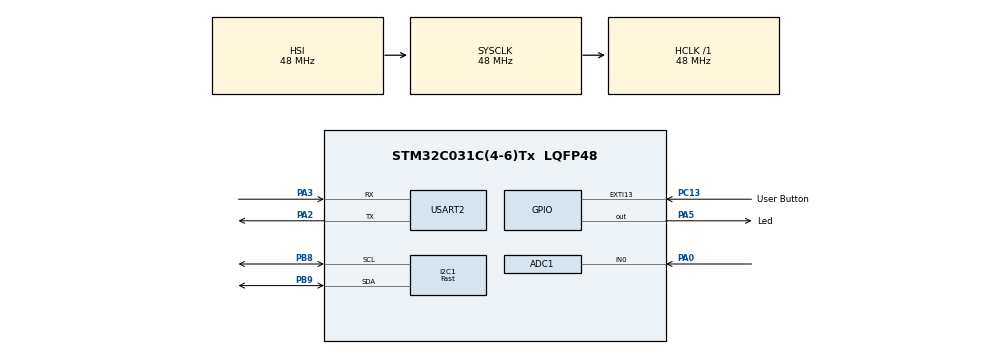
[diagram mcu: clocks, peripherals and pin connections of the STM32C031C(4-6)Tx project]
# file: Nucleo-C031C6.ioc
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ADC1.ContinuousConvMode=DISABLE
ADC1.NbrOfConversion=1
ADC1.NbrOfConversionFlag=0
ADC1.SamplingTimeCommon1=ADC_SAMPLETIME_160CYCLES_5
ADC1.SelectedChannel=ADC_CHANNEL_0
ADC1.master=1
I2C1.I2C_Speed_Mode=I2C_Fast
I2C1.Timing=0x0090194B
Mcu.Family=STM32C0
Mcu.Name=STM32C031C(4-6)Tx
Mcu.Package=LQFP48
NVIC.EXTI4_15_IRQn=true\:0\:0\:false\:false\:true\:true\:true\:true
PA0.Mode=IN0
PA0.Signal=ADC1_IN0
PA13.Mode=Serial_Wire
PA13.Signal=DEBUG_SWDIO
PA14-BOOT0.Mode=Serial_Wire
PA14-BOOT0.Signal=DEBUG_SWCLK
PA2.Mode=Asynchronous
PA2.Signal=USART2_TX
PA3.Mode=Asynchronous
PA3.Signal=USART2_RX
PA5.GPIO_Label=Led
PA5.GPIO_Speed=GPIO_SPEED_FREQ_VERY_HIGH
PA5.PinState=GPIO_PIN_SET
PA5.Signal=GPIO_Output
PB8.Mode=I2C
PB8.Signal=I2C1_SCL
PB9.Mode=I2C
PB9.Signal=I2C1_SDA
PC13.GPIO_Label=User Button
PC13.Signal=GPXTI13
PC14-OSCX_IN\ (PC14).Mode=LSE-External-Oscillator
PC14-OSCX_IN\ (PC14).Signal=RCC_OSCX_IN
PC15-OSCX_OUT\ (PC15).Mode=LSE-External-Oscillator
PC15-OSCX_OUT\ (PC15).Signal=RCC_OSCX_OUT
PF0-OSC_IN\ (PF0).Mode=HSE-External-Oscillator
PF0-OSC_IN\ (PF0).Signal=RCC_OSC_IN
PF1-OSC_OUT\ (PF1).Mode=HSE-External-Oscillator
PF1-OSC_OUT\ (PF1).Signal=RCC_OSC_OUT
ProjectManager.HeapSize=0x200
ProjectManager.StackSize=0x400
ProjectManager.TargetToolchain=Makefile
RCC.ADCFreq_Value=48000000
RCC.AHBFreq_Value=48000000
RCC.CortexFreq_Value=48000000
RCC.EXTERNAL_CLOCK_VALUE=12288000
RCC.HCLKFreq_Value=48000000
RCC.HSE_VALUE=48000000
RCC.HSISYSCLKDivider=RCC_HSI_DIV1
RCC.HSI_VALUE=48000000
RCC.SYSCLKFreq_VALUE=48000000
USART2.VirtualMode-Asynchronous=VM_ASYNC
board=NUCLEO-C031C6

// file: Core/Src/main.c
/* USER CODE BEGIN Header */
/**
 ******************************************************************************
 * @file           : main.c
 * @brief          : Main program body
 ******************************************************************************
 * @attention
 *
 * Copyright (c) 2023 STMicroelectronics.
 * All rights reserved.
 *
 * This software is licensed under terms that can be found in the LICENSE file
 * in the root directory of this software component.
 * If no LICENSE file comes with this software, it is provided AS-IS.
 *
 ******************************************************************************
 */
/* USER CODE END Header */
#include "main.h"

/* USER CODE BEGIN Includes */
#include "ssd1306_fonts.h"
#include "ssd1306.h"
#include <stdio.h>
//#include "ssd1306_conf.h"
/* USER CODE END Includes */

/* USER CODE BEGIN PTD */
// adc_value variable store the adc value,
// temp variable store the temperature value
int adc_value;
char temp_str[20];
int freq = 0;
int treshhold = 10;
int x = 0;
int y = 0;
/* USER CODE END PTD */

/* USER CODE BEGIN PD */
#define LEFT		  80
#define UP			 640
#define DOWN		1360
#define RIGHT		2080
#define ENTER		3020
//#define NONE		4095
/* USER CODE END PD */

/* USER CODE BEGIN PM */
void I2C_Scan(void);
/* USER CODE END PM */

ADC_HandleTypeDef hadc1;

I2C_HandleTypeDef hi2c1;

UART_HandleTypeDef huart2;

void SystemClock_Config(void);
static void MX_GPIO_Init(void);
static void MX_USART2_UART_Init(void);
static void MX_I2C1_Init(void);
static void MX_ADC1_Init(void);

int main(void) {

	/* MCU Configuration--------------------------------------------------------*/

	/* Reset of all peripherals, Initializes the Flash interface and the Systick. */
	HAL_Init();

	/* Configure the system clock */
	SystemClock_Config();

	/* Initialize all configured peripherals */
	MX_GPIO_Init();
	MX_USART2_UART_Init();
	MX_I2C1_Init();
	MX_ADC1_Init();
	/* USER CODE BEGIN 2 */
	ssd1306_Init();
	char myText[] = "Hello World!";
	printf(myText);
	// ssd1306_Fill(White);
	ssd1306_SetCursor(0, 0);
	ssd1306_WriteString(myText, Font_6x8, White);

	ssd1306_UpdateScreen();
	/* USER CODE END 2 */

	/* Infinite loop */
	/* USER CODE BEGIN WHILE */
	uint16_t ADC_Buffer[1] = { 0 };
	HAL_ADC_Start_DMA(&hadc1, ADC_Buffer, 1);

	I2C_Scan();
	while (1) {
		HAL_GPIO_TogglePin(Led_GPIO_Port, Led_Pin);
		//HAL_Delay(1500);

		// start ADC convertion
		HAL_ADC_Start(&hadc1);

		// ADC poll for conversion
		HAL_ADC_PollForConversion(&hadc1, 100);

		// get the ADC conversion value
		adc_value = HAL_ADC_GetValue(&hadc1);
		//	ssd1306_DrawRectangle(0 + x * 8, 8 + y * 8, 8 + x * 8, 16 + y * 8, Black);

		if (adc_value > LEFT - treshhold && adc_value < LEFT + treshhold) {
			freq--;
			x--;
		} else if (adc_value > RIGHT - treshhold
				&& adc_value < RIGHT + treshhold) {
			freq++;
			x++;
		} else if (adc_value > UP - treshhold && adc_value < UP + treshhold) {
			freq += 100;
			y--;
		} else if (adc_value > DOWN - treshhold
				&& adc_value < DOWN + treshhold) {
			freq -= 100;
			y++;
		} else if (adc_value > ENTER - treshhold
				&& adc_value < ENTER + treshhold) {
			freq = 0;
			x = y = 0;
		}

		sprintf(temp_str, "%d  \n", freq);

		// end ADC convertion
		HAL_ADC_Stop(&hadc1);

		ssd1306_SetCursor(0, 16);
		ssd1306_WriteString(temp_str, Font_11x18, White);
		//ssd1306_Line(0,16,128,15, White); - Line between blue and yellow
		//	ssd1306_DrawRectangle(0 + x * 8, 8 + y * 8, 8 + x * 8, 16 + y * 8, White);

		ssd1306_UpdateScreen();
		/* USER CODE END WHILE */

	}
}

void SystemClock_Config(void) {
	RCC_OscInitTypeDef RCC_OscInitStruct = { 0 };
	RCC_ClkInitTypeDef RCC_ClkInitStruct = { 0 };

	/** Initializes the RCC Oscillators according to the specified parameters
	 * in the RCC_OscInitTypeDef structure.
	 */
	RCC_OscInitStruct.OscillatorType = RCC_OSCILLATORTYPE_HSI;
	RCC_OscInitStruct.HSIState = RCC_HSI_ON;
	RCC_OscInitStruct.HSIDiv = RCC_HSI_DIV1;
	RCC_OscInitStruct.HSICalibrationValue = RCC_HSICALIBRATION_DEFAULT;
	if (HAL_RCC_OscConfig(&RCC_OscInitStruct) != HAL_OK) {
		Error_Handler();
	}

	/** Initializes the CPU, AHB and APB buses clocks
	 */
	RCC_ClkInitStruct.ClockType = RCC_CLOCKTYPE_HCLK | RCC_CLOCKTYPE_SYSCLK
			| RCC_CLOCKTYPE_PCLK1;
	RCC_ClkInitStruct.SYSCLKSource = RCC_SYSCLKSOURCE_HSI;
	RCC_ClkInitStruct.SYSCLKDivider = RCC_SYSCLK_DIV1;
	RCC_ClkInitStruct.AHBCLKDivider = RCC_HCLK_DIV1;
	RCC_ClkInitStruct.APB1CLKDivider = RCC_APB1_DIV1;

	if (HAL_RCC_ClockConfig(&RCC_ClkInitStruct, FLASH_LATENCY_1) != HAL_OK) {
		Error_Handler();
	}
}

static void MX_ADC1_Init(void) {

	ADC_ChannelConfTypeDef sConfig = { 0 };

	/** Configure the global features of the ADC (Clock, Resolution, Data Alignment and number of conversion)
	 */
	hadc1.Instance = ADC1;
	hadc1.Init.ClockPrescaler = ADC_CLOCK_SYNC_PCLK_DIV2;
	hadc1.Init.Resolution = ADC_RESOLUTION_12B;
	hadc1.Init.DataAlign = ADC_DATAALIGN_RIGHT;
	hadc1.Init.ScanConvMode = ADC_SCAN_SEQ_FIXED;
	hadc1.Init.EOCSelection = ADC_EOC_SINGLE_CONV;
	hadc1.Init.LowPowerAutoWait = DISABLE;
	hadc1.Init.LowPowerAutoPowerOff = DISABLE;
	hadc1.Init.ContinuousConvMode = DISABLE;
	hadc1.Init.NbrOfConversion = 1;
	hadc1.Init.DiscontinuousConvMode = DISABLE;
	hadc1.Init.ExternalTrigConv = ADC_SOFTWARE_START;
	hadc1.Init.ExternalTrigConvEdge = ADC_EXTERNALTRIGCONVEDGE_NONE;
	hadc1.Init.DMAContinuousRequests = DISABLE;
	hadc1.Init.Overrun = ADC_OVR_DATA_PRESERVED;
	hadc1.Init.SamplingTimeCommon1 = ADC_SAMPLETIME_160CYCLES_5;
	hadc1.Init.OversamplingMode = DISABLE;
	hadc1.Init.TriggerFrequencyMode = ADC_TRIGGER_FREQ_HIGH;
	if (HAL_ADC_Init(&hadc1) != HAL_OK) {
		Error_Handler();
	}

	/** Configure Regular Channel
	 */
	sConfig.Channel = ADC_CHANNEL_0;
	sConfig.Rank = ADC_RANK_CHANNEL_NUMBER;
	if (HAL_ADC_ConfigChannel(&hadc1, &sConfig) != HAL_OK) {
		Error_Handler();
	}

}

static void MX_I2C1_Init(void) {

	hi2c1.Instance = I2C1;
	hi2c1.Init.Timing = 0x2010091A;
	hi2c1.Init.OwnAddress1 = 0;
	hi2c1.Init.AddressingMode = I2C_ADDRESSINGMODE_7BIT;
	hi2c1.Init.DualAddressMode = I2C_DUALADDRESS_DISABLE;
	hi2c1.Init.OwnAddress2 = 0;
	hi2c1.Init.OwnAddress2Masks = I2C_OA2_NOMASK;
	hi2c1.Init.GeneralCallMode = I2C_GENERALCALL_DISABLE;
	hi2c1.Init.NoStretchMode = I2C_NOSTRETCH_DISABLE;
	if (HAL_I2C_Init(&hi2c1) != HAL_OK) {
		Error_Handler();
	}

	/** Configure Analogue filter
	 */
	if (HAL_I2CEx_ConfigAnalogFilter(&hi2c1, I2C_ANALOGFILTER_ENABLE)
			!= HAL_OK) {
		Error_Handler();
	}

	/** Configure Digital filter
	 */
	if (HAL_I2CEx_ConfigDigitalFilter(&hi2c1, 0) != HAL_OK) {
		Error_Handler();
	}

}

static void MX_USART2_UART_Init(void) {

	huart2.Instance = USART2;
	huart2.Init.BaudRate = 115200;
	huart2.Init.WordLength = UART_WORDLENGTH_8B;
	huart2.Init.StopBits = UART_STOPBITS_1;
	huart2.Init.Parity = UART_PARITY_NONE;
	huart2.Init.Mode = UART_MODE_TX_RX;
	huart2.Init.HwFlowCtl = UART_HWCONTROL_NONE;
	huart2.Init.OverSampling = UART_OVERSAMPLING_16;
	huart2.Init.OneBitSampling = UART_ONE_BIT_SAMPLE_DISABLE;
	huart2.Init.ClockPrescaler = UART_PRESCALER_DIV1;
	huart2.AdvancedInit.AdvFeatureInit = UART_ADVFEATURE_NO_INIT;
	if (HAL_UART_Init(&huart2) != HAL_OK) {
		Error_Handler();
	}

}

static void MX_GPIO_Init(void) {
	GPIO_InitTypeDef GPIO_InitStruct = { 0 };

	/* GPIO Ports Clock Enable */
	__HAL_RCC_GPIOC_CLK_ENABLE();
	__HAL_RCC_GPIOF_CLK_ENABLE();
	__HAL_RCC_GPIOA_CLK_ENABLE();
	__HAL_RCC_GPIOB_CLK_ENABLE();

	/*Configure GPIO pin Output Level */
	HAL_GPIO_WritePin(Led_GPIO_Port, Led_Pin, GPIO_PIN_SET);

	/*Configure GPIO pin : User_Button_Pin */
	GPIO_InitStruct.Pin = User_Button_Pin;
	GPIO_InitStruct.Mode = GPIO_MODE_IT_RISING;
	GPIO_InitStruct.Pull = GPIO_NOPULL;
	HAL_GPIO_Init(User_Button_GPIO_Port, &GPIO_InitStruct);

	/*Configure GPIO pin : Led_Pin */
	GPIO_InitStruct.Pin = Led_Pin;
	GPIO_InitStruct.Mode = GPIO_MODE_OUTPUT_PP;
	GPIO_InitStruct.Pull = GPIO_NOPULL;
	GPIO_InitStruct.Speed = GPIO_SPEED_FREQ_VERY_HIGH;
	HAL_GPIO_Init(Led_GPIO_Port, &GPIO_InitStruct);

	/* EXTI interrupt init*/
	HAL_NVIC_SetPriority(EXTI4_15_IRQn, 0, 0);
	HAL_NVIC_EnableIRQ(EXTI4_15_IRQn);

}

/* USER CODE BEGIN 4 */
void I2C_Scan(void) {
	printf("Scanning I2C bus:\r\n");
	HAL_StatusTypeDef result;
	uint8_t i;
	for (i = 1; i < 128; i++) {
		/*
		 * the HAL wants a left aligned i2c address
		 * &hi2c1 is the handle
		 * (uint16_t)(i<<1) is the i2c address left aligned
		 * retries 2
		 * timeout 2
		 */
		result = HAL_I2C_IsDeviceReady(&hi2c1, (uint16_t) (i << 1), 2, 2);
		if (result != HAL_OK) // HAL_ERROR or HAL_BUSY or HAL_TIMEOUT
				{
			printf("."); // No ACK received at that address
		}
		if (result == HAL_OK) {
			printf("0x%X", i); // Received an ACK at that address
			//sprintf(test, "0x%X", i);
			//HAL_UART_Transmit(&huart2, (uint8_t*) test, strlen(test), 100);
		}
	}
	printf("\r\n");
}

/* USER CODE END 4 */

void Error_Handler(void) {
	__disable_irq();
	while (1) {
	}
}
